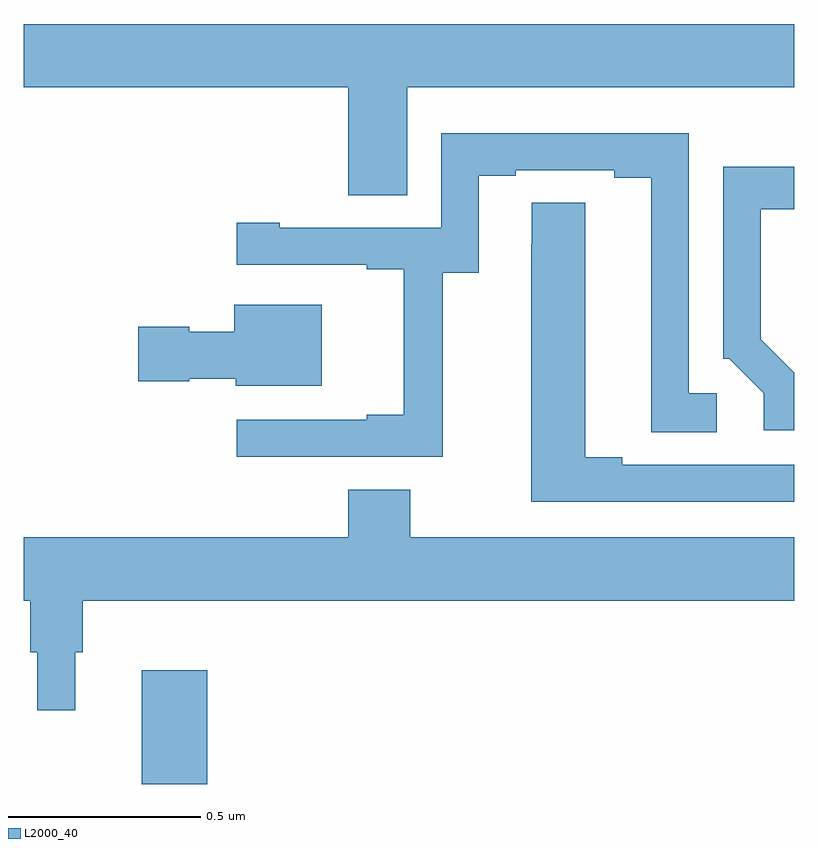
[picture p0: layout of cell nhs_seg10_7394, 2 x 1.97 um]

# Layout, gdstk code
import gdstk
lib = gdstk.Library(unit=1e-6, precision=1e-09)
def R(c, l, rs):  # rectangles x0, y0, x1, y1
    for r in rs: c.add(gdstk.rectangle(r[:2], r[2:], *l))
def P(c, l, *ps):  # polygons
    for p in ps: c.add(gdstk.Polygon(p, *l))
L2000_40 = (2000, 40)

nhs_seg10_7394 = lib.new_cell('nhs_seg10_7394')
R(nhs_seg10_7394, L2000_40, [(203.306,1306.5,203.477,1306.795)])
P(nhs_seg10_7394, L2000_40, [(203.995,1308.308),(205,1308.308),(205,1308.472),(203,1308.472),(203,1308.308),(203.843,1308.308),(203.843,1308.028),(203.995,1308.028)],
  [(204.087,1307.827),(204.181,1307.827),(204.181,1308.078),(204.277,1308.078),(204.277,1308.093),(204.533,1308.093),(204.533,1308.073),(204.629,1308.073),(204.629,1307.413),(204.799,1307.413),(204.799,1307.514),(204.726,1307.514),(204.726,1308.189),(204.084,1308.189),(204.084,1307.943),(203.665,1307.943),(203.665,1307.956),(203.553,1307.956),(203.553,1307.847),(203.891,1307.847),(203.891,1307.835),(203.987,1307.835),(203.987,1307.458),(203.891,1307.458),(203.891,1307.445),(203.553,1307.445),(203.553,1307.349),(204.087,1307.349)],
  [(205,1307.567),(204.913,1307.654),(204.913,1307.991),(205,1307.991),(205,1308.101),(204.816,1308.101),(204.816,1307.604),(204.831,1307.604),(204.921,1307.514),(204.921,1307.418),(205,1307.418)],
  [(205,1307.328),(204.553,1307.328),(204.553,1307.348),(204.457,1307.348),(204.457,1308.008),(204.318,1308.008),(204.318,1307.9),(204.317,1307.9),(204.317,1307.232),(205,1307.232)],
  [(203.773,1307.743),(203.546,1307.743),(203.546,1307.674),(203.43,1307.674),(203.43,1307.687),(203.298,1307.687),(203.298,1307.545),(203.43,1307.545),(203.43,1307.552),(203.55,1307.552),(203.55,1307.534),(203.773,1307.534)],
  [(203,1306.976),(203.017,1306.976),(203.017,1306.842),(203.036,1306.842),(203.036,1306.692),(203.134,1306.692),(203.134,1306.842),(203.153,1306.842),(203.153,1306.976),(205,1306.976),(205,1307.14),(204.003,1307.14),(204.003,1307.264),(203.843,1307.264),(203.843,1307.14),(203,1307.14)])

lib.write_gds('nhs_seg10_7394.gds')
